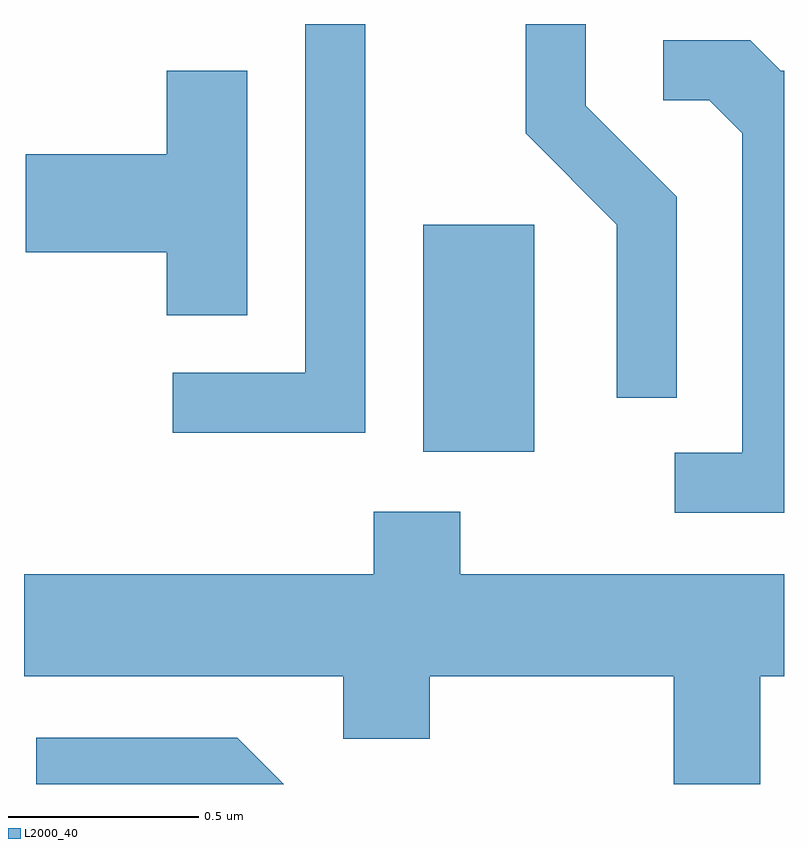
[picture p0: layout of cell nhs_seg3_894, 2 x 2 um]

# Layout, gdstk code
import gdstk
lib = gdstk.Library(unit=1e-6, precision=1e-09)
def R(c, l, rs):  # rectangles x0, y0, x1, y1
    for r in rs: c.add(gdstk.rectangle(r[:2], r[2:], *l))
def P(c, l, *ps):  # polygons
    for p in ps: c.add(gdstk.Polygon(p, *l))
L2000_40 = (2000, 40)

nhs_seg3_894 = lib.new_cell('nhs_seg3_894')
R(nhs_seg3_894, L2000_40, [(192.661,1188.766,192.954,1189.364)])
P(nhs_seg3_894, L2000_40, [(192.509,1189.892),(192.351,1189.892),(192.351,1188.974),(192.003,1188.974),(192.003,1188.816),(192.509,1188.816)],
  [(193.329,1189.437),(193.089,1189.677),(193.089,1189.892),(192.931,1189.892),(192.931,1189.604),(193.171,1189.364),(193.171,1188.908),(193.329,1188.908)],
  [(193.611,1189.769),(193.602,1189.769),(193.522,1189.849),(193.293,1189.849),(193.293,1189.691),(193.414,1189.691),(193.501,1189.604),(193.501,1188.764),(193.323,1188.764),(193.323,1188.606),(193.611,1188.606)],
  [(192.199,1189.769),(191.986,1189.769),(191.986,1189.549),(191.616,1189.549),(191.616,1189.291),(191.986,1189.291),(191.986,1189.126),(192.199,1189.126)],
  [(193.549,1188.176),(193.611,1188.176),(193.611,1188.444),(192.759,1188.444),(192.759,1188.609),(192.531,1188.609),(192.531,1188.444),(191.611,1188.444),(191.611,1188.176),(192.451,1188.176),(192.451,1188.011),(192.679,1188.011),(192.679,1188.176),(193.321,1188.176),(193.321,1187.892),(193.549,1187.892)],
  [(192.172,1188.014),(191.643,1188.014),(191.643,1187.892),(192.294,1187.892)])

lib.write_gds('nhs_seg3_894.gds')
